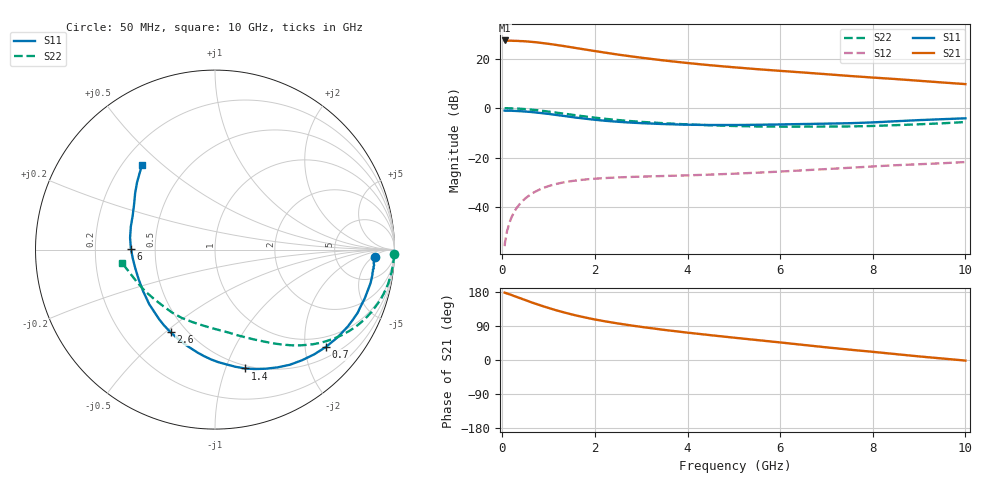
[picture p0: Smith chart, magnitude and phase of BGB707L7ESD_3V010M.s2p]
! (c) 2009  Infineon Technologies AG, Munich
!  Infineon Technologies AG
!  BGB707L7ESD RU919007 w#7 Sample Build #08493 Teil Nr. 3
!  Vce = 3.0V, Ic = 10.0mA
!  DATUM: 30.06.2009 10:18:19
# GHz  S  MA  R  50
!f  S11  S21  S12  S22
!GHz  Mag  Ang  Mag  Ang  Mag  Ang  Mag  Ang
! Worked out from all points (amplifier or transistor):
!   52 points, 50 MHz to 10 GHz, reference 50 ohm
!   highest |S21| = 27.4 dB at 60 MHz (marker M1)
!   |S21| within 3 dB of that: start of sweep to 1.568 GHz
!   unconditionally stable (mu >= 1): 5.338 GHz to 9.494 GHz
!   at 130 MHz: K = 0.01, MSG = 37.7 dB, |S12| = -48.0 dB
!   at 1.4 GHz: K = 0.27, MSG = 27.4 dB, |S12| = -29.8 dB
!   at 10 GHz: K = 0.95, MSG = 15.8 dB, |S12| = -21.8 dB
!   lowest NFmin = 0.55 dB at 100 MHz
!   S11 on the Smith chart (normalised r, x): 50 MHz: 15, -6; 700 MHz: 0.74, -2.47; 1.4 GHz: 0.47, -1.17; 2.6 GHz: 0.41, -0.52; 6 GHz: 0.36, +0.01; 10 GHz: 0.28, +0.43
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0.05  0.8928 -2.8  23.09 177.8  0.001608 86.7  0.9968 -1.5
0.06  0.8901 -3.5  23.5 177.4  0.001963 84.2  0.997 -2.0
0.08  0.887 -4.8  23.12 176.3  0.002453 87.9  0.9972 -2.8
0.09  0.8909 -5.6  23.31 176.5  0.002745 87.6  0.9973 -3.2
0.2  0.8865 -12.2  23.25 171.5  0.006196 83.4  0.9918 -7.4
0.35  0.8714 -21.0  22.95 164.7  0.01066 78.2  0.9777 -12.8
0.5  0.8555 -29.9  22.55 158.0  0.01495 73.6  0.9564 -18.2
0.7  0.8226 -41.2  21.75 149.2  0.02014 67.3  0.92 -24.9
0.9  0.784 -51.9  20.63 141.1  0.02454 61.6  0.876 -31.1
1.1  0.7426 -62.1  19.49 133.5  0.02818 56.6  0.8286 -36.7
1.4  0.6828 -75.9  17.66 123.5  0.03234 50.5  0.7594 -44.0
1.8  0.6119 -92.2  15.36 112.0  0.03605 44.4  0.6773 -51.9
2.2  0.558 -106.3  13.42 102.5  0.0384 40.4  0.6126 -58.3
2.6  0.5227 -118.2  11.8 94.5  0.03996 38.0  0.5644 -63.9
3  0.4972 -128.8  10.51 87.4  0.04116 36.7  0.5285 -69.0
3.5  0.4764 -140.2  9.225 79.4  0.0424 36.1  0.4952 -75.0
4.5  0.4565 -158.8  7.386 65.5  0.04525 37.4  0.45 -86.6
5.5  0.461 -174.1  6.168 52.6  0.04941 39.8  0.4267 -100.5
6  0.4689 179.3  5.695 46.4  0.05209 41.0  0.4227 -107.9
7  0.4861 164.8  4.87 33.4  0.05853 42.0  0.4245 -124.3
8.5  0.5441 144.9  3.883 15.5  0.07006 41.0  0.4532 -149.3
10  0.6237 130.6  3.073 -1.6  0.08109 38.5  0.524 -172.0
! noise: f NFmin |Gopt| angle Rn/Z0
0.1  0.55  0.46  2  0.18
0.45  0.69  0.46  4  0.18
0.9  0.73  0.47  12  0.18
1.8  0.75  0.4  33  0.17
5  0.97  0.31  70  0.16
10  1.48  0.39  -123  0.14
